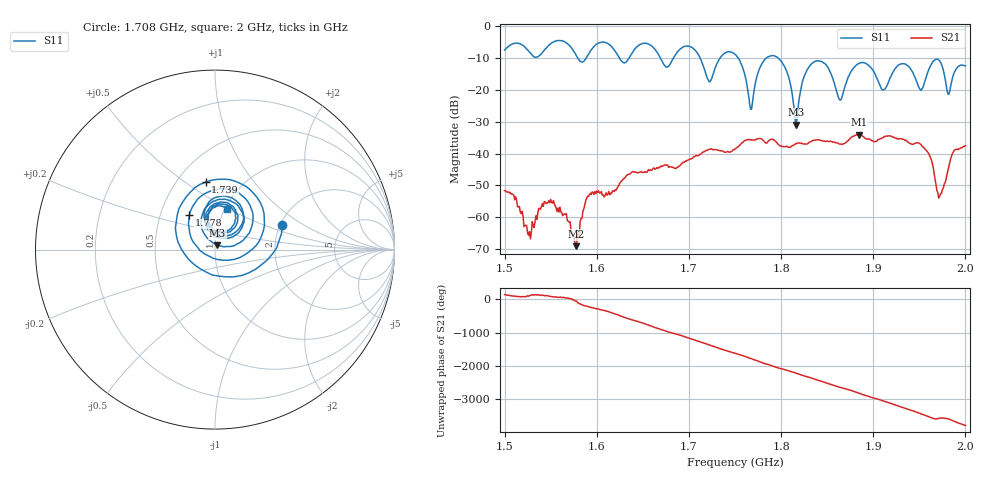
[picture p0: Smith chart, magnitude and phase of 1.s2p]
! NanoVNA-App by SYSJOINT et al v1.1.209 (+OD18)
! Date: 2026-01-21 14:21:11
! Start: 1,5GHz Stop: 2GHz Points: 501
! S-Parameter data: F S11 S21 S12 S22
# Hz S RI R 50
!  Frequency  S11_Real  S11_Imag  S21_Real  S21_Imag  S12_Real  S12_Imag  S22_Real  S22_Imag
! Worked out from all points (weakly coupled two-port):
!   501 points, 1.5 GHz to 2 GHz, reference 50 ohm
!   highest |S21| = -34.01 dB at 1.885 GHz (marker M1); lowest = -69.0 dB at 1.578 GHz (marker M2)
!   lowest |S11| = -30.9 dB at 1.816 GHz (marker M3), VSWR 1.06, Z = 51.3 + j2.57 ohm
!   |S11| at or under -10 dB: 1.712 GHz to 1.734 GHz (21.67 MHz wide, 1.26 % of centre); 1.753 GHz to 1.784 GHz (30.49 MHz wide, 1.72 % of centre); 1.797 GHz to end of sweep (the widest 3 of 6)
!   S12 and S22 are empty: the file has one direction only
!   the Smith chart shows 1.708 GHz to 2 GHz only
!   S11 on the Smith chart (normalised r, x): 1.708 GHz: 2.05, +0.67; 1.739 GHz: 0.69, +0.60; 1.778 GHz: 0.70, +0.29; 2 GHz: 1.02, +0.49
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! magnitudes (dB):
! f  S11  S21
! 1.5 GHz  -7.5  -51.6
! 1.527 GHz  -8.1  -64.5
! 1.551 GHz  -5.3  -55.3
! 1.578 GHz  -9.3  -69.0
! 1.584 GHz  -11.2  -60.3
! 1.667 GHz  -8.9  -44.3
! 1.708 GHz  -8.0  -40.6
! 1.722 GHz  -17.4  -38.7
! 1.739 GHz  -8.4  -39.5
! 1.75 GHz  -8.8  -38.5
! 1.767 GHz  -26.1  -35.6
! 1.778 GHz  -12.4  -35.3
! 1.801 GHz  -11.3  -37.7
! 1.816 GHz  -30.9  -36.9
! 1.834 GHz  -11.6  -36.0
! 1.864 GHz  -23.2  -37.0
! 1.885 GHz  -11.6  -34.0
! 1.917 GHz  -17.3  -34.5
! 1.958 GHz  -15.4  -39.1
! 1.972 GHz  -10.8  -53.4
! 1.982 GHz  -21.4  -43.9
! 2 GHz  -12.5  -37.5
